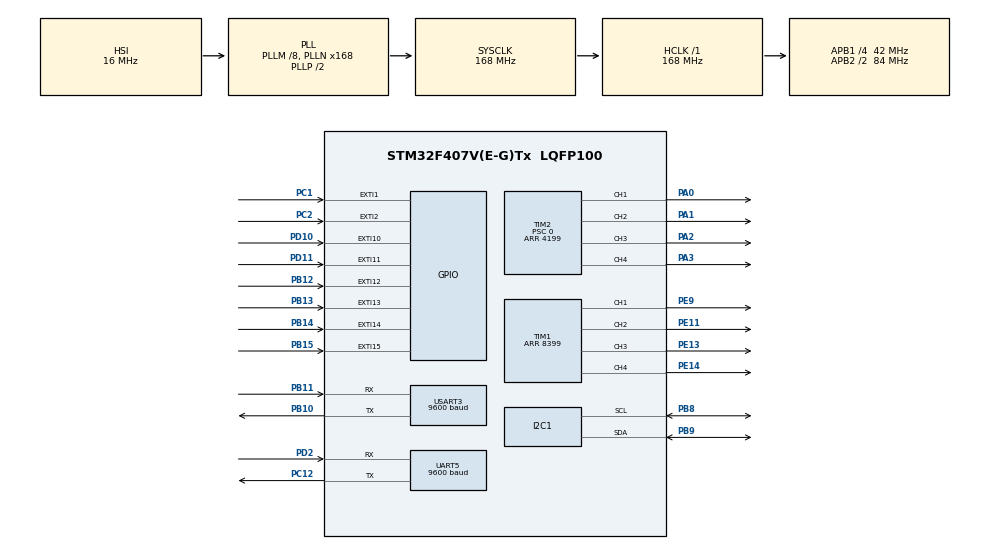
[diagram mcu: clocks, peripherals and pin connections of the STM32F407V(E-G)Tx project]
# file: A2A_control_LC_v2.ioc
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Mcu.Family=STM32F4
Mcu.Name=STM32F407V(E-G)Tx
Mcu.Package=LQFP100
NVIC.EXTI15_10_IRQn=true\:0\:0\:false\:false\:true\:true\:true\:true
NVIC.EXTI1_IRQn=true\:0\:0\:false\:false\:true\:true\:true\:true
NVIC.EXTI2_IRQn=true\:0\:0\:false\:false\:true\:true\:true\:true
NVIC.PriorityGroup=NVIC_PRIORITYGROUP_4
NVIC.TIM3_IRQn=true\:0\:0\:false\:false\:true\:true\:true\:true
NVIC.UART5_IRQn=true\:0\:0\:false\:false\:true\:true\:true\:true
NVIC.USART3_IRQn=true\:0\:0\:false\:false\:true\:true\:true\:true
PA0-WKUP.Signal=S_TIM2_CH1_ETR
PA1.Signal=S_TIM2_CH2
PA2.Signal=S_TIM2_CH3
PA3.Signal=S_TIM2_CH4
PB10.Mode=Asynchronous
PB10.Signal=USART3_TX
PB11.Mode=Asynchronous
PB11.Signal=USART3_RX
PB12.Signal=GPXTI12
PB13.Signal=GPXTI13
PB14.Signal=GPXTI14
PB15.Signal=GPXTI15
PB8.Mode=I2C
PB8.Signal=I2C1_SCL
PB9.Mode=I2C
PB9.Signal=I2C1_SDA
PC1.Signal=GPXTI1
PC12.Mode=Asynchronous
PC12.Signal=UART5_TX
PC2.Signal=GPXTI2
PD10.Signal=GPXTI10
PD11.Signal=GPXTI11
PD2.Mode=Asynchronous
PD2.Signal=UART5_RX
PE11.Signal=S_TIM1_CH2
PE13.Signal=S_TIM1_CH3
PE14.Signal=S_TIM1_CH4
PE9.Signal=S_TIM1_CH1
ProjectManager.HeapSize=0x200
ProjectManager.StackSize=0x400
ProjectManager.TargetToolchain=STM32CubeIDE
RCC.48MHZClocksFreq_Value=84000000
RCC.AHBFreq_Value=168000000
RCC.APB1CLKDivider=RCC_HCLK_DIV4
RCC.APB1Freq_Value=42000000
RCC.APB1TimFreq_Value=84000000
RCC.APB2CLKDivider=RCC_HCLK_DIV2
RCC.APB2Freq_Value=84000000
RCC.APB2TimFreq_Value=168000000
RCC.CortexFreq_Value=168000000
RCC.HCLKFreq_Value=168000000
RCC.HSE_VALUE=25000000
RCC.HSI_VALUE=16000000
RCC.LSE_VALUE=32768
RCC.PLLM=8
RCC.PLLN=168
RCC.SYSCLKFreq_VALUE=168000000
RCC.SYSCLKSource=RCC_SYSCLKSOURCE_PLLCLK
RCC.VCOOutputFreq_Value=336000000
SH.S_TIM1_CH1.0=TIM1_CH1,PWM Generation1 CH1
SH.S_TIM1_CH2.0=TIM1_CH2,PWM Generation2 CH2
SH.S_TIM1_CH3.0=TIM1_CH3,PWM Generation3 CH3
SH.S_TIM1_CH4.0=TIM1_CH4,PWM Generation4 CH4
SH.S_TIM2_CH1_ETR.0=TIM2_CH1,PWM Generation1 CH1
SH.S_TIM2_CH2.0=TIM2_CH2,PWM Generation2 CH2
SH.S_TIM2_CH3.0=TIM2_CH3,PWM Generation3 CH3
SH.S_TIM2_CH4.0=TIM2_CH4,PWM Generation4 CH4
TIM1.AutoReloadPreload=TIM_AUTORELOAD_PRELOAD_ENABLE
TIM1.Channel-PWM\ Generation1\ CH1=TIM_CHANNEL_1
TIM1.Channel-PWM\ Generation2\ CH2=TIM_CHANNEL_2
TIM1.Channel-PWM\ Generation3\ CH3=TIM_CHANNEL_3
TIM1.Channel-PWM\ Generation4\ CH4=TIM_CHANNEL_4
TIM1.Period=8399
TIM2.AutoReloadPreload=TIM_AUTORELOAD_PRELOAD_ENABLE
TIM2.Channel-PWM\ Generation1\ CH1=TIM_CHANNEL_1
TIM2.Channel-PWM\ Generation2\ CH2=TIM_CHANNEL_2
TIM2.Channel-PWM\ Generation3\ CH3=TIM_CHANNEL_3
TIM2.Channel-PWM\ Generation4\ CH4=TIM_CHANNEL_4
TIM2.Period=4199
TIM2.Prescaler=0
TIM3.Period=999
TIM3.Prescaler=839
UART5.BaudRate=9600
UART5.VirtualMode=Asynchronous
USART3.BaudRate=9600
USART3.VirtualMode=VM_ASYNC
VP_TIM1_VS_ClockSourceINT.Mode=Internal
VP_TIM2_VS_ClockSourceINT.Mode=Internal
VP_TIM3_VS_ClockSourceINT.Mode=Internal
board=custom

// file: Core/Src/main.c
/* USER CODE BEGIN Header */
/**
  ******************************************************************************
  * @file           : main.c
  * @brief          : Main program body
  ******************************************************************************
  * @attention
  *
  * Copyright (c) 2025 STMicroelectronics.
  * All rights reserved.
  *
  * This software is licensed under terms that can be found in the LICENSE file
  * in the root directory of this software component.
  * If no LICENSE file comes with this software, it is provided AS-IS.
  *
  ******************************************************************************
  */
/* USER CODE END Header */
#include "main.h"

/* USER CODE BEGIN Includes */
#include <stdio.h>
#include <string.h>

// Variables globales para cada motor
typedef struct {
    float kp; // Ganancia proporcional
    float ki; // Ganancia integral
    float prev_error; // Error anterior
    float integral; // Acumulador integral
} PIcontroller;

void controlarMotor(TIM_HandleTypeDef *htim, uint32_t channel1, uint32_t channel2,
                    PIcontroller *pid, float setpoint, float feedback, int direccion, float a, float b, int motor);

void movimiento(char str, float setpointM1, float setpointM2, float setpointM3, float setpointM4,
                float feedbackM1, float feedbackM2, float feedbackM3, float feedbackM4, float a_m1, float b_m1,
				float a_m2, float b_m2, float a_m3, float b_m3,float a_m4, float b_m4);
// ===== Límite de seguridad y helpers PWM =====
#define MAX_DUTY_PCT  80.0f   // tope de PWM en %, ajusta a tu gusto

static inline uint32_t pwm_get_arr(TIM_HandleTypeDef *htim) {
    return __HAL_TIM_GET_AUTORELOAD(htim);  // = Period (ARR) del timer
}

static inline uint32_t pwm_pct_to_ccr(TIM_HandleTypeDef *htim, float pct) {
    if (pct < 0.0f)   pct = 0.0f;
    if (pct > 100.0f) pct = 100.0f;
    float arr = (float)pwm_get_arr(htim);
    return (uint32_t)((pct * arr) / 100.0f + 0.5f);
}

/* USER CODE END Includes */

I2C_HandleTypeDef hi2c1;

TIM_HandleTypeDef htim1;
TIM_HandleTypeDef htim2;
TIM_HandleTypeDef htim3;

UART_HandleTypeDef huart5;
UART_HandleTypeDef huart3;

void SystemClock_Config(void);
static void MX_GPIO_Init(void);
static void MX_TIM1_Init(void);
static void MX_TIM2_Init(void);
static void MX_UART5_Init(void);
static void MX_USART3_UART_Init(void);
static void MX_I2C1_Init(void);
static void MX_TIM3_Init(void);

/* USER CODE BEGIN 0 */
// === ADDED ===
volatile char g_cmd = 'e';          // comando actual (empieza en STOP)
volatile uint8_t control_tick = 0;  // flag para ejecutar control cada 10 ms
uint8_t rx3, rx5;                   // buffers de RX por IT para USART3 y UART5

#define ENCODER_PPR 2000 // Pulsos por revolución del encoder
#define TIMER_INTERVAL 10 // Intervalo del cálculo de velocidad (ms)
/* Variables globales para los encoders */
char rxData='b';
char datico='b';
int *velocidad_mostrar;

volatile int32_t encoder_count_m1 = 0, encoder_count_m2 = 0, encoder_count_m3 = 0, encoder_count_m4 = 0;
volatile int8_t motor_direction_m1 = 0, motor_direction_m2 = 0, motor_direction_m3 = 0, motor_direction_m4 = 0;
volatile int32_t pulses_in_interval_m1 = 0, pulses_in_interval_m2 = 0, pulses_in_interval_m3 = 0, pulses_in_interval_m4 = 0;
volatile int32_t motor_speed_rpm_m1 = 0, motor_speed_rpm_m2 = 0, motor_speed_rpm_m3 = 0, motor_speed_rpm_m4 = 0;

float a_m1 = 22.697, a_m2 = 23.993, a_m3 = 22.697, a_m4 = 23.119;
float b_m1 = 1200.62, b_m2 = 1200.31, b_m3 = 927.31, b_m4 = 874;

// Función para calcular la salida del controlador PID
// Devuelve %PWM (0..100) a partir del error de RPM
float calcularPID(PIcontroller *pid, float setpoint_rpm, float feedback_rpm, float a, float b)
{
    (void)a; (void)b;

    const float Ts = 0.01f;                 // 10 ms (tu TIM3)
    float error = setpoint_rpm - feedback_rpm;

    // Integrador con tiempo de muestreo
    pid->integral += error * Ts;

    // Ley de control en %
    float u_pct = pid->kp * error + pid->ki * pid->integral;

    // Anti-windup por saturación (0..100 %)
    if (u_pct > 100.0f) {
        u_pct = 100.0f;
        if (error > 0.0f) pid->integral -= error * Ts;
    } else if (u_pct < 0.0f) {
        u_pct = 0.0f;
        if (error < 0.0f) pid->integral -= error * Ts;
    }
    return u_pct;
}

PIcontroller controladorM1 = { .kp = 0.128945918270809, .ki = 1.051473493173661};
PIcontroller controladorM2 = { .kp = 0.149547642624270, .ki = 1.172268884423284};
PIcontroller controladorM3 = { .kp = 0.222191752414783, .ki = 1.071228759963182};
PIcontroller controladorM4 = { .kp = 0.200520366470992, .ki = 1.063884770111944};

float feedbackM1, feedbackM2, feedbackM3, feedbackM4 = 0;  // Declare the feedback variables

/* ISR para las señales del encoder */
void HAL_GPIO_EXTI_Callback(uint16_t GPIO_Pin) {
    // Motor 1
    if (GPIO_Pin == GPIO_PIN_12 || GPIO_Pin == GPIO_PIN_13) {
        if (HAL_GPIO_ReadPin(GPIOB, GPIO_PIN_12) == HAL_GPIO_ReadPin(GPIOB, GPIO_PIN_13)) {
            encoder_count_m1++;
            pulses_in_interval_m1++;
            motor_direction_m1 = 1;
        } else {
            encoder_count_m1--;
            pulses_in_interval_m1++;
            motor_direction_m1 = -1;
        }
    }
    // Motor 2
    else if (GPIO_Pin == GPIO_PIN_14 || GPIO_Pin == GPIO_PIN_15) {
        if (HAL_GPIO_ReadPin(GPIOB, GPIO_PIN_14) == HAL_GPIO_ReadPin(GPIOB, GPIO_PIN_15)) {
            encoder_count_m2++;
            pulses_in_interval_m2++;
            motor_direction_m2 = 1;
        } else {
            encoder_count_m2--;
            pulses_in_interval_m2++;
            motor_direction_m2 = -1;
        }
    }
    // Motor 3
    else if (GPIO_Pin == GPIO_PIN_10 || GPIO_Pin == GPIO_PIN_11) {
        if (HAL_GPIO_ReadPin(GPIOD, GPIO_PIN_10) == HAL_GPIO_ReadPin(GPIOD, GPIO_PIN_11)) {
            encoder_count_m3++;
            pulses_in_interval_m3++;
            motor_direction_m3 = 1;
        } else {
            encoder_count_m3--;
            pulses_in_interval_m3++;
            motor_direction_m3 = -1;
        }
    }
    // Motor 4
    else if (GPIO_Pin == GPIO_PIN_2 || GPIO_Pin == GPIO_PIN_1) {
        if (HAL_GPIO_ReadPin(GPIOC, GPIO_PIN_1) == HAL_GPIO_ReadPin(GPIOC, GPIO_PIN_2)) {
            encoder_count_m4++;
            pulses_in_interval_m4++;
            motor_direction_m4 = 1;
        } else {
            encoder_count_m4--;
            pulses_in_interval_m4++;
            motor_direction_m4 = -1;
        }
    }
}
void HAL_UART_RxCpltCallback(UART_HandleTypeDef *huart) {
    char c;
    if (huart->Instance == USART3) {
        c = (char)rx3;
        HAL_UART_Receive_IT(&huart3, &rx3, 1); // rearmar
    } else if (huart->Instance == UART5) {
        c = (char)rx5;
        HAL_UART_Receive_IT(&huart5, &rx5, 1); // rearmar
    } else {
        return;
    }

    // Si es un comando válido, actualizar g_cmd y resetear integrales (anti-windup)
    if (c=='a'||c=='b'||c=='c'||c=='d'||c=='e'||c=='f'||c=='g'||c=='h'||c=='i'||c=='j'||c=='k') {
        g_cmd = c;
        controladorM1.integral = 0;
        controladorM2.integral = 0;
        controladorM3.integral = 0;
        controladorM4.integral = 0;

        // (Opcional) eco por consola:
        // HAL_UART_Transmit(&huart3, (uint8_t*)&g_cmd, 1, 50);
    }
}

/* Temporizador para calcular velocidad */
void HAL_TIM_PeriodElapsedCallback(TIM_HandleTypeDef *htim) {
    if (htim->Instance == TIM3) {
    	static float f1=0, f2=0, f3=0, f4=0;

    	float rpm1 = (pulses_in_interval_m1 * 60 * 1000) / (ENCODER_PPR * TIMER_INTERVAL);
    	float rpm2 = (pulses_in_interval_m2 * 60 * 1000) / (ENCODER_PPR * TIMER_INTERVAL);
    	float rpm3 = (pulses_in_interval_m3 * 60 * 1000) / (ENCODER_PPR * TIMER_INTERVAL);
    	float rpm4 = (pulses_in_interval_m4 * 60 * 1000) / (ENCODER_PPR * TIMER_INTERVAL);

    	// filtro exponencial: 70% pasado – 30% nuevo
    	f1 = 0.7f * f1 + 0.3f * rpm1;
    	f2 = 0.7f * f2 + 0.3f * rpm2;
    	f3 = 0.7f * f3 + 0.3f * rpm3;
    	f4 = 0.7f * f4 + 0.3f * rpm4;

    	motor_speed_rpm_m1 = f1;
    	motor_speed_rpm_m2 = f2;
    	motor_speed_rpm_m3 = f3;
    	motor_speed_rpm_m4 = f4;

        if (pulses_in_interval_m1 == 0) motor_speed_rpm_m1 = 0, motor_direction_m1 = 0;
        if (pulses_in_interval_m2 == 0) motor_speed_rpm_m2 = 0, motor_direction_m2 = 0;
        if (pulses_in_interval_m3 == 0) motor_speed_rpm_m3 = 0, motor_direction_m3 = 0;
        if (pulses_in_interval_m4 == 0) motor_speed_rpm_m4 = 0, motor_direction_m4 = 0;

        pulses_in_interval_m1 = pulses_in_interval_m2 = pulses_in_interval_m3 = pulses_in_interval_m4 = 0;
        control_tick = 1;
    }
}
/* USER CODE END 0 */

int main(void)
{

  /* MCU Configuration--------------------------------------------------------*/

  /* Reset of all peripherals, Initializes the Flash interface and the Systick. */
  HAL_Init();

  /* Configure the system clock */
  SystemClock_Config();

  /* Initialize all configured peripherals */
  MX_GPIO_Init();
  MX_TIM1_Init();
  MX_TIM2_Init();
  MX_UART5_Init();
  MX_USART3_UART_Init();
  MX_I2C1_Init();
  MX_TIM3_Init();
  /* USER CODE BEGIN 2 */
  // Arranca RX por interrupción en ambos UARTs
  HAL_UART_Receive_IT(&huart3, &rx3, 1);
  HAL_UART_Receive_IT(&huart5, &rx5, 1);

  // Timer de 10 ms para velocidades y tick de control
  HAL_TIM_Base_Start_IT(&htim3);

  // PWM: usar HAL_TIM_PWM_Start (no *_Start_IT)
  HAL_TIM_PWM_Start(&htim1, TIM_CHANNEL_1);
  HAL_TIM_PWM_Start(&htim1, TIM_CHANNEL_2);
  HAL_TIM_PWM_Start(&htim1, TIM_CHANNEL_3);
  HAL_TIM_PWM_Start(&htim1, TIM_CHANNEL_4);

  HAL_TIM_PWM_Start(&htim2, TIM_CHANNEL_1);
  HAL_TIM_PWM_Start(&htim2, TIM_CHANNEL_2);
  HAL_TIM_PWM_Start(&htim2, TIM_CHANNEL_3);
  HAL_TIM_PWM_Start(&htim2, TIM_CHANNEL_4);

  // Inicializa duty en 0
  __HAL_TIM_SetCompare(&htim1, TIM_CHANNEL_1, 0);
  __HAL_TIM_SetCompare(&htim1, TIM_CHANNEL_2, 0);
  __HAL_TIM_SetCompare(&htim1, TIM_CHANNEL_3, 0);
  __HAL_TIM_SetCompare(&htim1, TIM_CHANNEL_4, 0);
  __HAL_TIM_SetCompare(&htim2, TIM_CHANNEL_1, 0);
  __HAL_TIM_SetCompare(&htim2, TIM_CHANNEL_2, 0);
  __HAL_TIM_SetCompare(&htim2, TIM_CHANNEL_3, 0);
  __HAL_TIM_SetCompare(&htim2, TIM_CHANNEL_4, 0);
  /* USER CODE END 2 */

  /* Infinite loop */
  /* USER CODE BEGIN WHILE */
  while (1)
  {
	    if (control_tick) {
	        control_tick = 0;

	        float sp_rpm = 60.0f;
	        movimiento(g_cmd, sp_rpm, sp_rpm, sp_rpm, sp_rpm,
	                   (float)motor_speed_rpm_m1, (float)motor_speed_rpm_m2,
	                   (float)motor_speed_rpm_m3, (float)motor_speed_rpm_m4,
	                   a_m1, b_m1, a_m2, b_m2, a_m3, b_m3, a_m4, b_m4);
	    }
    /* USER CODE END WHILE */

  }
}

void SystemClock_Config(void)
{
  RCC_OscInitTypeDef RCC_OscInitStruct = {0};
  RCC_ClkInitTypeDef RCC_ClkInitStruct = {0};

  /** Configure the main internal regulator output voltage
  */
  __HAL_RCC_PWR_CLK_ENABLE();
  __HAL_PWR_VOLTAGESCALING_CONFIG(PWR_REGULATOR_VOLTAGE_SCALE1);

  /** Initializes the RCC Oscillators according to the specified parameters
  * in the RCC_OscInitTypeDef structure.
  */
  RCC_OscInitStruct.OscillatorType = RCC_OSCILLATORTYPE_HSI;
  RCC_OscInitStruct.HSIState = RCC_HSI_ON;
  RCC_OscInitStruct.HSICalibrationValue = RCC_HSICALIBRATION_DEFAULT;
  RCC_OscInitStruct.PLL.PLLState = RCC_PLL_ON;
  RCC_OscInitStruct.PLL.PLLSource = RCC_PLLSOURCE_HSI;
  RCC_OscInitStruct.PLL.PLLM = 8;
  RCC_OscInitStruct.PLL.PLLN = 168;
  RCC_OscInitStruct.PLL.PLLP = RCC_PLLP_DIV2;
  RCC_OscInitStruct.PLL.PLLQ = 4;
  if (HAL_RCC_OscConfig(&RCC_OscInitStruct) != HAL_OK)
  {
    Error_Handler();
  }

  /** Initializes the CPU, AHB and APB buses clocks
  */
  RCC_ClkInitStruct.ClockType = RCC_CLOCKTYPE_HCLK|RCC_CLOCKTYPE_SYSCLK
                              |RCC_CLOCKTYPE_PCLK1|RCC_CLOCKTYPE_PCLK2;
  RCC_ClkInitStruct.SYSCLKSource = RCC_SYSCLKSOURCE_PLLCLK;
  RCC_ClkInitStruct.AHBCLKDivider = RCC_SYSCLK_DIV1;
  RCC_ClkInitStruct.APB1CLKDivider = RCC_HCLK_DIV4;
  RCC_ClkInitStruct.APB2CLKDivider = RCC_HCLK_DIV2;

  if (HAL_RCC_ClockConfig(&RCC_ClkInitStruct, FLASH_LATENCY_5) != HAL_OK)
  {
    Error_Handler();
  }
}

static void MX_I2C1_Init(void)
{

  hi2c1.Instance = I2C1;
  hi2c1.Init.ClockSpeed = 100000;
  hi2c1.Init.DutyCycle = I2C_DUTYCYCLE_2;
  hi2c1.Init.OwnAddress1 = 0;
  hi2c1.Init.AddressingMode = I2C_ADDRESSINGMODE_7BIT;
  hi2c1.Init.DualAddressMode = I2C_DUALADDRESS_DISABLE;
  hi2c1.Init.OwnAddress2 = 0;
  hi2c1.Init.GeneralCallMode = I2C_GENERALCALL_DISABLE;
  hi2c1.Init.NoStretchMode = I2C_NOSTRETCH_DISABLE;
  if (HAL_I2C_Init(&hi2c1) != HAL_OK)
  {
    Error_Handler();
  }

}

static void MX_TIM1_Init(void)
{

  TIM_ClockConfigTypeDef sClockSourceConfig = {0};
  TIM_MasterConfigTypeDef sMasterConfig = {0};
  TIM_OC_InitTypeDef sConfigOC = {0};
  TIM_BreakDeadTimeConfigTypeDef sBreakDeadTimeConfig = {0};

  htim1.Instance = TIM1;
  htim1.Init.Prescaler = 0;
  htim1.Init.CounterMode = TIM_COUNTERMODE_UP;
  htim1.Init.Period = 8399;
  htim1.Init.ClockDivision = TIM_CLOCKDIVISION_DIV1;
  htim1.Init.RepetitionCounter = 0;
  htim1.Init.AutoReloadPreload = TIM_AUTORELOAD_PRELOAD_ENABLE;
  if (HAL_TIM_Base_Init(&htim1) != HAL_OK)
  {
    Error_Handler();
  }
  sClockSourceConfig.ClockSource = TIM_CLOCKSOURCE_INTERNAL;
  if (HAL_TIM_ConfigClockSource(&htim1, &sClockSourceConfig) != HAL_OK)
  {
    Error_Handler();
  }
  if (HAL_TIM_PWM_Init(&htim1) != HAL_OK)
  {
    Error_Handler();
  }
  sMasterConfig.MasterOutputTrigger = TIM_TRGO_RESET;
  sMasterConfig.MasterSlaveMode = TIM_MASTERSLAVEMODE_DISABLE;
  if (HAL_TIMEx_MasterConfigSynchronization(&htim1, &sMasterConfig) != HAL_OK)
  {
    Error_Handler();
  }
  sConfigOC.OCMode = TIM_OCMODE_PWM1;
  sConfigOC.Pulse = 0;
  sConfigOC.OCPolarity = TIM_OCPOLARITY_HIGH;
  sConfigOC.OCNPolarity = TIM_OCNPOLARITY_HIGH;
  sConfigOC.OCFastMode = TIM_OCFAST_DISABLE;
  sConfigOC.OCIdleState = TIM_OCIDLESTATE_RESET;
  sConfigOC.OCNIdleState = TIM_OCNIDLESTATE_RESET;
  if (HAL_TIM_PWM_ConfigChannel(&htim1, &sConfigOC, TIM_CHANNEL_1) != HAL_OK)
  {
    Error_Handler();
  }
  if (HAL_TIM_PWM_ConfigChannel(&htim1, &sConfigOC, TIM_CHANNEL_2) != HAL_OK)
  {
    Error_Handler();
  }
  if (HAL_TIM_PWM_ConfigChannel(&htim1, &sConfigOC, TIM_CHANNEL_3) != HAL_OK)
  {
    Error_Handler();
  }
  if (HAL_TIM_PWM_ConfigChannel(&htim1, &sConfigOC, TIM_CHANNEL_4) != HAL_OK)
  {
    Error_Handler();
  }
  sBreakDeadTimeConfig.OffStateRunMode = TIM_OSSR_DISABLE;
  sBreakDeadTimeConfig.OffStateIDLEMode = TIM_OSSI_DISABLE;
  sBreakDeadTimeConfig.LockLevel = TIM_LOCKLEVEL_OFF;
  sBreakDeadTimeConfig.DeadTime = 0;
  sBreakDeadTimeConfig.BreakState = TIM_BREAK_DISABLE;
  sBreakDeadTimeConfig.BreakPolarity = TIM_BREAKPOLARITY_HIGH;
  sBreakDeadTimeConfig.AutomaticOutput = TIM_AUTOMATICOUTPUT_DISABLE;
  if (HAL_TIMEx_ConfigBreakDeadTime(&htim1, &sBreakDeadTimeConfig) != HAL_OK)
  {
    Error_Handler();
  }
  HAL_TIM_MspPostInit(&htim1);

}

static void MX_TIM2_Init(void)
{

  TIM_ClockConfigTypeDef sClockSourceConfig = {0};
  TIM_MasterConfigTypeDef sMasterConfig = {0};
  TIM_OC_InitTypeDef sConfigOC = {0};

  htim2.Instance = TIM2;
  htim2.Init.Prescaler = 0;
  htim2.Init.CounterMode = TIM_COUNTERMODE_UP;
  htim2.Init.Period = 4199;
  htim2.Init.ClockDivision = TIM_CLOCKDIVISION_DIV1;
  htim2.Init.AutoReloadPreload = TIM_AUTORELOAD_PRELOAD_ENABLE;
  if (HAL_TIM_Base_Init(&htim2) != HAL_OK)
  {
    Error_Handler();
  }
  sClockSourceConfig.ClockSource = TIM_CLOCKSOURCE_INTERNAL;
  if (HAL_TIM_ConfigClockSource(&htim2, &sClockSourceConfig) != HAL_OK)
  {
    Error_Handler();
  }
  if (HAL_TIM_PWM_Init(&htim2) != HAL_OK)
  {
    Error_Handler();
  }
  sMasterConfig.MasterOutputTrigger = TIM_TRGO_RESET;
  sMasterConfig.MasterSlaveMode = TIM_MASTERSLAVEMODE_DISABLE;
  if (HAL_TIMEx_MasterConfigSynchronization(&htim2, &sMasterConfig) != HAL_OK)
  {
    Error_Handler();
  }
  sConfigOC.OCMode = TIM_OCMODE_PWM1;
  sConfigOC.Pulse = 0;
  sConfigOC.OCPolarity = TIM_OCPOLARITY_HIGH;
  sConfigOC.OCFastMode = TIM_OCFAST_DISABLE;
  if (HAL_TIM_PWM_ConfigChannel(&htim2, &sConfigOC, TIM_CHANNEL_1) != HAL_OK)
  {
    Error_Handler();
  }
  if (HAL_TIM_PWM_ConfigChannel(&htim2, &sConfigOC, TIM_CHANNEL_2) != HAL_OK)
  {
    Error_Handler();
  }
  if (HAL_TIM_PWM_ConfigChannel(&htim2, &sConfigOC, TIM_CHANNEL_3) != HAL_OK)
  {
    Error_Handler();
  }
  if (HAL_TIM_PWM_ConfigChannel(&htim2, &sConfigOC, TIM_CHANNEL_4) != HAL_OK)
  {
    Error_Handler();
  }
  HAL_TIM_MspPostInit(&htim2);

}

static void MX_TIM3_Init(void)
{

  TIM_ClockConfigTypeDef sClockSourceConfig = {0};
  TIM_MasterConfigTypeDef sMasterConfig = {0};

  htim3.Instance = TIM3;
  htim3.Init.Prescaler = 839;
  htim3.Init.CounterMode = TIM_COUNTERMODE_UP;
  htim3.Init.Period = 999;
  htim3.Init.ClockDivision = TIM_CLOCKDIVISION_DIV1;
  htim3.Init.AutoReloadPreload = TIM_AUTORELOAD_PRELOAD_DISABLE;
  if (HAL_TIM_Base_Init(&htim3) != HAL_OK)
  {
    Error_Handler();
  }
  sClockSourceConfig.ClockSource = TIM_CLOCKSOURCE_INTERNAL;
  if (HAL_TIM_ConfigClockSource(&htim3, &sClockSourceConfig) != HAL_OK)
  {
    Error_Handler();
  }
  sMasterConfig.MasterOutputTrigger = TIM_TRGO_RESET;
  sMasterConfig.MasterSlaveMode = TIM_MASTERSLAVEMODE_DISABLE;
  if (HAL_TIMEx_MasterConfigSynchronization(&htim3, &sMasterConfig) != HAL_OK)
  {
    Error_Handler();
  }

}

static void MX_UART5_Init(void)
{

  huart5.Instance = UART5;
  huart5.Init.BaudRate = 9600;
  huart5.Init.WordLength = UART_WORDLENGTH_8B;
  huart5.Init.StopBits = UART_STOPBITS_1;
  huart5.Init.Parity = UART_PARITY_NONE;
  huart5.Init.Mode = UART_MODE_TX_RX;
  huart5.Init.HwFlowCtl = UART_HWCONTROL_NONE;
  huart5.Init.OverSampling = UART_OVERSAMPLING_16;
  if (HAL_UART_Init(&huart5) != HAL_OK)
  {
    Error_Handler();
  }

}

static void MX_USART3_UART_Init(void)
{

  huart3.Instance = USART3;
  huart3.Init.BaudRate = 9600;
  huart3.Init.WordLength = UART_WORDLENGTH_8B;
  huart3.Init.StopBits = UART_STOPBITS_1;
  huart3.Init.Parity = UART_PARITY_NONE;
  huart3.Init.Mode = UART_MODE_TX_RX;
  huart3.Init.HwFlowCtl = UART_HWCONTROL_NONE;
  huart3.Init.OverSampling = UART_OVERSAMPLING_16;
  if (HAL_UART_Init(&huart3) != HAL_OK)
  {
    Error_Handler();
  }

}

static void MX_GPIO_Init(void)
{
  GPIO_InitTypeDef GPIO_InitStruct = {0};

  /* GPIO Ports Clock Enable */
  __HAL_RCC_GPIOC_CLK_ENABLE();
  __HAL_RCC_GPIOA_CLK_ENABLE();
  __HAL_RCC_GPIOE_CLK_ENABLE();
  __HAL_RCC_GPIOB_CLK_ENABLE();
  __HAL_RCC_GPIOD_CLK_ENABLE();

  /*Configure GPIO pins : PC1 PC2 */
  GPIO_InitStruct.Pin = GPIO_PIN_1|GPIO_PIN_2;
  GPIO_InitStruct.Mode = GPIO_MODE_IT_RISING;
  GPIO_InitStruct.Pull = GPIO_NOPULL;
  HAL_GPIO_Init(GPIOC, &GPIO_InitStruct);

  /*Configure GPIO pins : PB12 PB13 PB14 PB15 */
  GPIO_InitStruct.Pin = GPIO_PIN_12|GPIO_PIN_13|GPIO_PIN_14|GPIO_PIN_15;
  GPIO_InitStruct.Mode = GPIO_MODE_IT_RISING;
  GPIO_InitStruct.Pull = GPIO_NOPULL;
  HAL_GPIO_Init(GPIOB, &GPIO_InitStruct);

  /*Configure GPIO pins : PD10 PD11 */
  GPIO_InitStruct.Pin = GPIO_PIN_10|GPIO_PIN_11;
  GPIO_InitStruct.Mode = GPIO_MODE_IT_RISING;
  GPIO_InitStruct.Pull = GPIO_NOPULL;
  HAL_GPIO_Init(GPIOD, &GPIO_InitStruct);

  /* EXTI interrupt init*/
  HAL_NVIC_SetPriority(EXTI1_IRQn, 0, 0);
  HAL_NVIC_EnableIRQ(EXTI1_IRQn);

  HAL_NVIC_SetPriority(EXTI2_IRQn, 0, 0);
  HAL_NVIC_EnableIRQ(EXTI2_IRQn);

  HAL_NVIC_SetPriority(EXTI15_10_IRQn, 0, 0);
  HAL_NVIC_EnableIRQ(EXTI15_10_IRQn);

}

/* USER CODE BEGIN 4 */
void controlarMotor(TIM_HandleTypeDef *htim, uint32_t channela, uint32_t channelb,
                    PIcontroller *pid, float setpoint_rpm, float feedback_rpm, int direccion,
                    float a, float b, int motor)
{
    (void)a; (void)b;

    // 1) PI: error RPM → %PWM
    float u_pct = calcularPID(pid, setpoint_rpm, feedback_rpm, a, b);

    // 2) Límite de seguridad
    if (u_pct > MAX_DUTY_PCT) u_pct = MAX_DUTY_PCT;

    // 3) % → CCR (según ARR del timer)
    uint32_t ccr = pwm_pct_to_ccr(htim, u_pct);

    // 4) Aplicar dirección
    if (direccion == 1) {           // Adelante
        __HAL_TIM_SetCompare(htim, channela, ccr);
        __HAL_TIM_SetCompare(htim, channelb, 0);
    } else if (direccion == -1) {   // Atrás
        __HAL_TIM_SetCompare(htim, channela, 0);
        __HAL_TIM_SetCompare(htim, channelb, ccr);
    } else {                        // Parar
        __HAL_TIM_SetCompare(htim, channela, 0);
        __HAL_TIM_SetCompare(htim, channelb, 0);
    }

}

void movimiento(char str, float setpointM1, float setpointM2, float setpointM3, float setpointM4,
                float feedbackM1, float feedbackM2, float feedbackM3, float feedbackM4, float a_m1, float b_m1,
				float a_m2, float b_m2, float a_m3, float b_m3,float a_m4, float b_m4) {
    int direccionM1 = 0, direccionM2 = 0, direccionM3 = 0, direccionM4 = 0;

    // Configuración de direcciones según el comando
    switch (str) {
        case 'b': // Adelante
            direccionM1 = direccionM3  = 1;
            direccionM2 = direccionM4 = -1;
            break;
        case 'h': // Atrás
            direccionM1 =  direccionM3 = -1;
            direccionM4 = direccionM2 = 1;

            break;
        case 'j': // Rotación en sentido horario
            direccionM1 = 1; direccionM2 = 1; direccionM3 = 1; direccionM4 = 1;
            break;
        case 'k': // Rotación en sentido antihorario
            direccionM1 = -1; direccionM2 = -1; direccionM3 = -1; direccionM4 = -1;
            break;
        case 'c': // Adelante 45° derecha
            direccionM1 = 1; direccionM2 = 0; direccionM3 = 0; direccionM4 = -1;
            break;
        case 'a': // Adelante 45° izquierda
            direccionM1 = 0; direccionM2 = -1; direccionM3 = 1; direccionM4 = 0;
            break;
        case 'g': // Atrás 45° izquierda
        	direccionM1 = -1; direccionM2 = 0; direccionM3 = 0; direccionM4 = 1;
            break;
        case 'i': // Atrás 45° derecha
        	direccionM1 = 0; direccionM2 = 1; direccionM3 = -1; direccionM4 = 0;
            break;
        case 'f': // Movimiento lateral a la derecha
            direccionM1 = 1; direccionM2 = 1; direccionM3 = -1; direccionM4 = -1;
            break;
        case 'd': // Movimiento lateral a la izquierda
            direccionM1 = -1; direccionM2 = -1; direccionM3 = 1; direccionM4 = 1;
            break;
        case 'e': // Parar
        default:
            direccionM1 = direccionM2 = direccionM3 = direccionM4 = 0;
            break;
    }
    // Controlar cada motor con su controlador PID
    controlarMotor(&htim1, TIM_CHANNEL_1, TIM_CHANNEL_2, &controladorM1, setpointM1, feedbackM1, direccionM1, a_m1, b_m1, 1);
    controlarMotor(&htim1, TIM_CHANNEL_3, TIM_CHANNEL_4, &controladorM2, setpointM2, feedbackM2, direccionM2, a_m2, b_m2, 2);
    controlarMotor(&htim2, TIM_CHANNEL_1, TIM_CHANNEL_2, &controladorM3, setpointM3, feedbackM3, direccionM3, a_m3, b_m3, 3);
    controlarMotor(&htim2, TIM_CHANNEL_3, TIM_CHANNEL_4, &controladorM4, setpointM4, feedbackM4, direccionM4, a_m4, b_m4, 4);
}
/* USER CODE END 4 */

void Error_Handler(void)
{
  __disable_irq();
  while (1)
  {
  }
}
